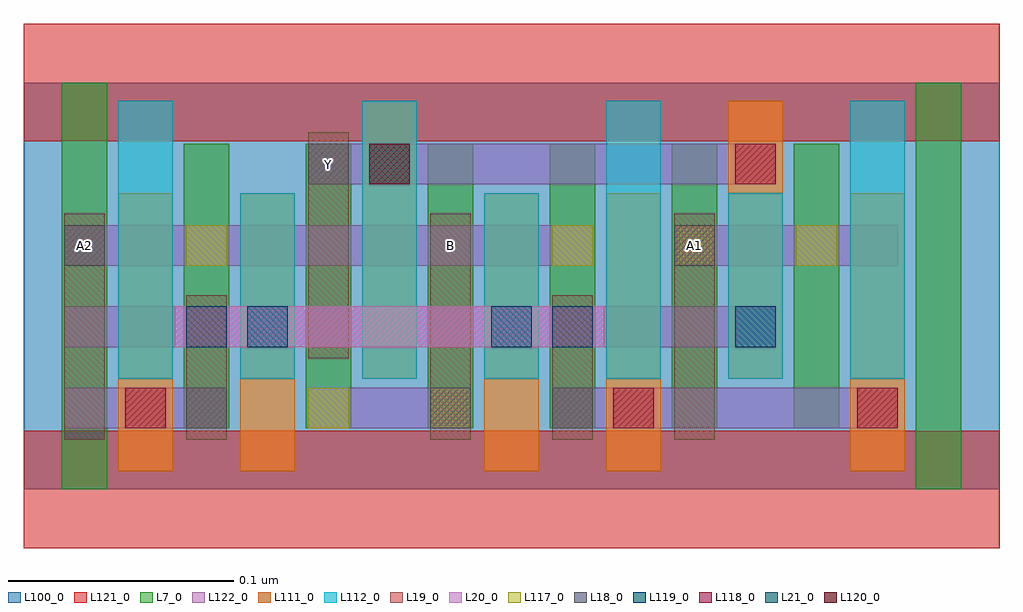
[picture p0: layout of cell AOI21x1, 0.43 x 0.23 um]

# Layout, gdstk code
import gdstk
lib = gdstk.Library(unit=1e-6, precision=2.5e-10)
def R(c, l, rs):  # rectangles x0, y0, x1, y1
    for r in rs: c.add(gdstk.rectangle(r[:2], r[2:], *l))
def A(c, l, x, y, w, h, nx, ny, dx, dy):  # array of equal rectangles
    R(c, l, [(x+i*dx, y+j*dy, x+i*dx+w, y+j*dy+h) for i in range(nx) for j in range(ny)])
L7_0 = (7, 0)
L18_0 = (18, 0)
L19_0 = (19, 0)
L20_0 = (20, 0)
L21_0 = (21, 0)
L100_0 = (100, 0)
L111_0 = (111, 0)
L112_0 = (112, 0)
L117_0 = (117, 0)
L118_0 = (118, 0)
L119_0 = (119, 0)
L120_0 = (120, 0)
L121_0 = (121, 0)
L122_0 = (122, 0)

aoi21x1 = lib.new_cell('AOI21x1')
A(aoi21x1, L7_0, 0.071, 0.027, 0.02, 0.126, 6, 1, 0.054, 0)
R(aoi21x1, L7_0, [(0.017,0,0.037,0.18), (0.395,0,0.415,0.18)])
R(aoi21x1, L18_0, [(0.072,0.027,0.09,0.045), (0.18,0.027,0.198,0.045), (0.234,0.027,0.252,0.045), (0.018,0.099,0.036,0.117), (0.288,0.099,0.306,0.117), (0.126,0.135,0.144,0.153)])
R(aoi21x1, L19_0, [(0.018,0.022,0.036,0.122), (0.072,0.022,0.09,0.086), (0.18,0.022,0.198,0.122), (0.234,0.022,0.252,0.086), (0.288,0.022,0.306,0.122), (0.126,0.058,0.144,0.158)])
R(aoi21x1, L20_0, [(0.067,0.063,0.257,0.081)])
R(aoi21x1, L21_0, [(0.072,0.063,0.09,0.081), (0.234,0.063,0.252,0.081)])
R(aoi21x1, L100_0, [(0,0,0.432,0.18)])
R(aoi21x1, L111_0, [(0.042,0.008,0.066,0.131), (0.096,0.008,0.12,0.131), (0.204,0.008,0.228,0.131), (0.258,0.008,0.282,0.131), (0.366,0.008,0.39,0.131), (0.15,0.049,0.174,0.172), (0.312,0.049,0.336,0.172)])
A(aoi21x1, L112_0, 0.042, 0.049, 0.024, 0.123, 4, 1, 0.108, 0)
A(aoi21x1, L112_0, 0.096, 0.049, 0.024, 0.082, 3, 1, 0.108, 0)
A(aoi21x1, L117_0, 0.234, 0.099, 0.018, 0.018, 3, 1, 0.054, 0)
R(aoi21x1, L117_0, [(0.126,0.027,0.144,0.045), (0.18,0.027,0.198,0.045), (0.072,0.099,0.09,0.117)])
R(aoi21x1, L118_0, [(0.045,0.027,0.063,0.045), (0.261,0.027,0.279,0.045), (0.369,0.027,0.387,0.045), (0.315,0.135,0.333,0.153)])
A(aoi21x1, L119_0, 0.099, 0.063, 0.018, 0.018, 3, 1, 0.108, 0)
R(aoi21x1, L119_0, [(0.153,0.135,0.171,0.153)])
R(aoi21x1, L120_0, [(0.153,0.135,0.171,0.153)])
R(aoi21x1, L121_0, [(0,-0.026,0.432,0.026), (0,0.154,0.432,0.206)])
R(aoi21x1, L122_0, [(0.018,0.027,0.09,0.045), (0.126,0.027,0.198,0.045), (0.234,0.027,0.387,0.045), (0.018,0.063,0.333,0.081), (0.018,0.099,0.252,0.117), (0.288,0.099,0.387,0.117), (0.126,0.135,0.333,0.153)])
aoi21x1.add(gdstk.Label('Y', (0.135,0.144), layer=19, texttype=251))
aoi21x1.add(gdstk.Label('B', (0.189,0.108), layer=19, texttype=251))
aoi21x1.add(gdstk.Label('A2', (0.027,0.108), layer=19, texttype=251))
aoi21x1.add(gdstk.Label('A1', (0.297,0.108), layer=19, texttype=251))

lib.write_gds('AOI21x1.gds')
